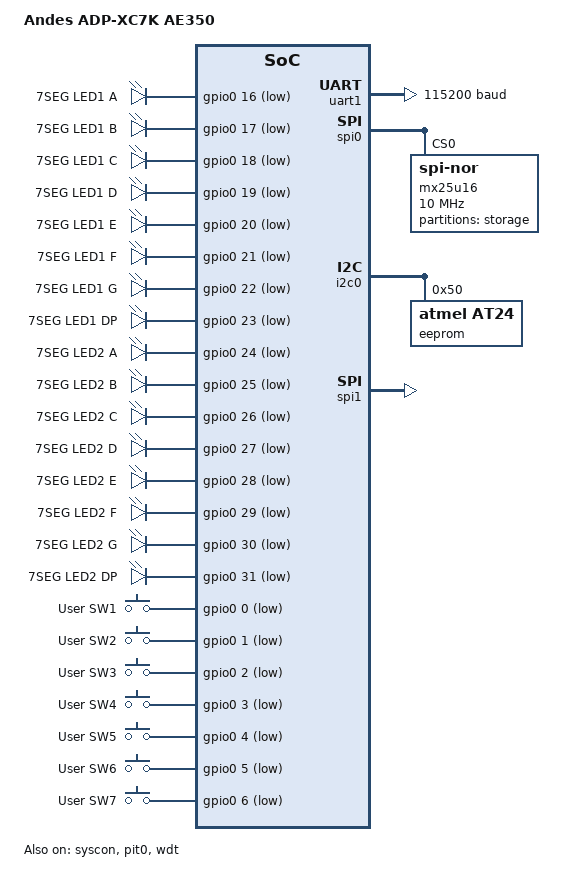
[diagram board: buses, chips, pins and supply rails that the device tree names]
/*
 * Copyright (c) 2023 Andes Technology Corporation
 *
 * SPDX-License-Identifier: Apache-2.0
 */

/dts-v1/;

#include <andes/andes_v5_ae350.dtsi>
#include <zephyr/dt-bindings/input/input-event-codes.h>

/ {
	model = "Andes ADP-XC7K AE350";
	compatible = "andestech,adp_xc7k_ae350";

	aliases {
		gpio-0 = &gpio0;
		counter-0 = &pit0;
		i2c-0 = &i2c0;
		led0 = &seg7_led1_g;
		led1 = &seg7_led2_g;
		sw0 = &user_button1;
		eeprom-0 = &eeprom;
	};

	chosen {
		zephyr,console = &uart1;
		zephyr,shell-uart = &uart1;
		zephyr,sram = &dram;
		zephyr,flash = &mx25u16;
		zephyr,flash-controller = &mx25u16;
	};

	leds {
		compatible = "gpio-leds";

		seg7_led1_a: led_1 {
			label = "7SEG LED1 A";
			gpios = <&gpio0 16 GPIO_ACTIVE_LOW>;
		};
		seg7_led1_b: led_2 {
			label = "7SEG LED1 B";
			gpios = <&gpio0 17 GPIO_ACTIVE_LOW>;
		};
		seg7_led1_c: led_3 {
			label = "7SEG LED1 C";
			gpios = <&gpio0 18 GPIO_ACTIVE_LOW>;
		};
		seg7_led1_d: led_4 {
			label = "7SEG LED1 D";
			gpios = <&gpio0 19 GPIO_ACTIVE_LOW>;
		};
		seg7_led1_e: led_5 {
			label = "7SEG LED1 E";
			gpios = <&gpio0 20 GPIO_ACTIVE_LOW>;
		};
		seg7_led1_f: led_6 {
			label = "7SEG LED1 F";
			gpios = <&gpio0 21 GPIO_ACTIVE_LOW>;
		};
		seg7_led1_g: led_7 {
			label = "7SEG LED1 G";
			gpios = <&gpio0 22 GPIO_ACTIVE_LOW>;
		};
		seg7_led1_dp: led_8 {
			label = "7SEG LED1 DP";
			gpios = <&gpio0 23 GPIO_ACTIVE_LOW>;
		};

		seg7_led2_a: led_9 {
			label = "7SEG LED2 A";
			gpios = <&gpio0 24 GPIO_ACTIVE_LOW>;
		};
		seg7_led2_b: led_10 {
			label = "7SEG LED2 B";
			gpios = <&gpio0 25 GPIO_ACTIVE_LOW>;
		};
		seg7_led2_c: led_11 {
			label = "7SEG LED2 C";
			gpios = <&gpio0 26 GPIO_ACTIVE_LOW>;
		};
		seg7_led2_d: led_12 {
			label = "7SEG LED2 D";
			gpios = <&gpio0 27 GPIO_ACTIVE_LOW>;
		};
		seg7_led2_e: led_13 {
			label = "7SEG LED2 E";
			gpios = <&gpio0 28 GPIO_ACTIVE_LOW>;
		};
		seg7_led2_f: led_14 {
			label = "7SEG LED2 F";
			gpios = <&gpio0 29 GPIO_ACTIVE_LOW>;
		};
		seg7_led2_g: led_15 {
			label = "7SEG LED2 G";
			gpios = <&gpio0 30 GPIO_ACTIVE_LOW>;
		};
		seg7_led2_dp: led_16 {
			label = "7SEG LED2 DP";
			gpios = <&gpio0 31 GPIO_ACTIVE_LOW>;
		};
	};

	gpio_keys {
		compatible = "gpio-keys";

		user_button1: button_1 {
			label = "User SW1";
			gpios = <&gpio0 0 GPIO_ACTIVE_LOW>;
			zephyr,code = <INPUT_KEY_0>;
		};
		user_button2: button_2 {
			label = "User SW2";
			gpios = <&gpio0 1 GPIO_ACTIVE_LOW>;
			zephyr,code = <INPUT_KEY_1>;
		};
		user_button3: button_3 {
			label = "User SW3";
			gpios = <&gpio0 2 GPIO_ACTIVE_LOW>;
			zephyr,code = <INPUT_KEY_2>;
		};
		user_button4: button_4 {
			label = "User SW4";
			gpios = <&gpio0 3 GPIO_ACTIVE_LOW>;
			zephyr,code = <INPUT_KEY_3>;
		};
		user_button5: button_5 {
			label = "User SW5";
			gpios = <&gpio0 4 GPIO_ACTIVE_LOW>;
			zephyr,code = <INPUT_KEY_4>;
		};
		user_button6: button_6 {
			label = "User SW6";
			gpios = <&gpio0 5 GPIO_ACTIVE_LOW>;
			zephyr,code = <INPUT_KEY_5>;
		};
		user_button7: button_7 {
			label = "User SW7";
			gpios = <&gpio0 6 GPIO_ACTIVE_LOW>;
			zephyr,code = <INPUT_KEY_6>;
		};
	};
};

&l2_cache {
	status = "okay";
};

&syscon {
	status = "okay";
};

&uart1 {
	status = "okay";
	clock-frequency = <19660800>;
	current-speed = <115200>;
};

&gpio0 {
	status = "okay";
};

&pit0 {
	status = "okay";
};

&spi0 {
	status = "okay";
	mx25u16: qspi-nor-flash@0 {
		compatible = "jedec,spi-nor", "andestech,qspi-nor";
		size = <16777216>;
		spi-max-frequency = <10000000>;
		jedec-id = [c2 25 35];
		status = "okay";
		reg = <0>;
		sfdp-bfp = [
			e5 20 f1 ff  ff ff ff 00  44 eb 08 6b  08 3b 04 bb
			fe ff ff ff  ff ff 00 ff  ff ff 44 eb  0c 20 0f 52
			10 d8 00 ff
		];
		partitions {
			compatible = "fixed-partitions";
			#address-cells = <1>;
			#size-cells = <1>;
			storage_partition: partition@0 {
				label = "storage";
				reg = <0x0 DT_SIZE_K(1024)>;
			};
		};
	};
};

&i2c0 {
	status = "okay";
	eeprom: eeprom@50 {
		compatible = "atmel,at24";
		reg = <0x50>;
		status = "okay";
		size = <16384>;
		pagesize = <64>;
		address-width = <16>;
		timeout = <5>;
	};
};

&spi1 {
	status = "okay";
	cs-gpios = <&gpio0 7 GPIO_ACTIVE_LOW>;
};

&wdt {
	status = "okay";
};

&dma0 {
	status = "okay";
};
